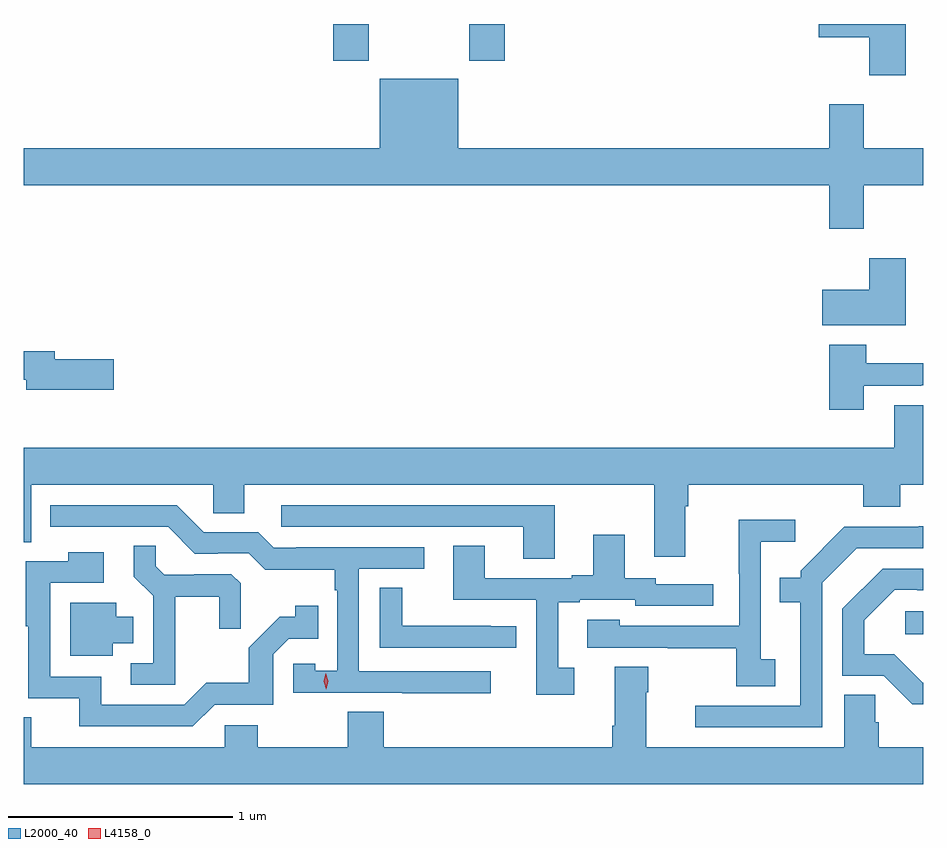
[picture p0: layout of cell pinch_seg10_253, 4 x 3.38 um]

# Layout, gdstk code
import gdstk
lib = gdstk.Library(unit=1e-6, precision=1e-09)
def R(c, l, rs):  # rectangles x0, y0, x1, y1
    for r in rs: c.add(gdstk.rectangle(r[:2], r[2:], *l))
def P(c, l, *ps):  # polygons
    for p in ps: c.add(gdstk.Polygon(p, *l))
L2000_40 = (2000, 40)
L4158_0 = (4158, 0)

pinch_seg10_253 = lib.new_cell('pinch_seg10_253')
R(pinch_seg10_253, L2000_40, [(532.224,1318.298,532.304,1318.401), (529.679,1320.849,529.839,1321.013), (530.284,1320.849,530.444,1321.013)])
P(pinch_seg10_253, L2000_40, [(532.228,1321.013),(531.84,1321.013),(531.84,1320.955),(532.064,1320.955),(532.064,1320.786),(532.228,1320.786)],
  [(532.039,1320.296),(532.304,1320.296),(532.304,1320.46),(532.039,1320.46),(532.039,1320.655),(531.887,1320.655),(531.887,1320.46),(530.236,1320.46),(530.236,1320.769),(529.886,1320.769),(529.886,1320.46),(528.304,1320.46),(528.304,1320.296),(531.887,1320.296),(531.887,1320.102),(532.039,1320.102)],
  [(532.228,1319.971),(532.064,1319.971),(532.064,1319.83),(531.855,1319.83),(531.855,1319.672),(532.228,1319.672)],
  [(532.039,1319.403),(532.295,1319.403),(532.295,1319.406),(532.304,1319.406),(532.304,1319.503),(532.052,1319.503),(532.052,1319.587),(531.887,1319.587),(531.887,1319.298),(532.039,1319.298)],
  [(528.703,1319.522),(528.442,1319.522),(528.442,1319.558),(528.304,1319.558),(528.304,1319.43),(528.314,1319.43),(528.314,1319.387),(528.703,1319.387)],
  [(531.247,1318.868),(531.26,1318.868),(531.26,1318.964),(532.037,1318.964),(532.037,1318.865),(532.202,1318.865),(532.202,1318.964),(532.304,1318.964),(532.304,1319.318),(532.175,1319.318),(532.175,1319.128),(528.304,1319.128),(528.304,1318.708),(528.337,1318.708),(528.337,1318.964),(529.146,1318.964),(529.146,1318.837),(529.285,1318.837),(529.285,1318.964),(531.107,1318.964),(531.107,1318.644),(531.247,1318.644)],
  [(530.665,1318.872),(529.449,1318.872),(529.449,1318.776),(530.525,1318.776),(530.525,1318.633),(530.665,1318.633)],
  [(530.38,1318.134),(529.794,1318.134),(529.794,1318.59),(530.086,1318.59),(530.086,1318.686),(529.516,1318.686),(529.516,1318.683),(529.416,1318.683),(529.347,1318.752),(529.104,1318.752),(528.984,1318.872),(528.422,1318.872),(528.422,1318.776),(528.945,1318.776),(529.065,1318.656),(529.166,1318.656),(529.166,1318.659),(529.305,1318.659),(529.378,1318.586),(529.686,1318.586),(529.686,1318.493),(529.698,1318.493),(529.698,1318.135),(529.599,1318.135),(529.599,1318.167),(529.503,1318.167),(529.503,1318.038),(529.987,1318.038),(529.987,1318.036),(530.38,1318.036)],
  [(531.646,1318.188),(531.582,1318.188),(531.582,1318.709),(531.736,1318.709),(531.736,1318.807),(531.484,1318.807),(531.484,1318.568),(531.486,1318.568),(531.486,1318.335),(530.955,1318.335),(530.955,1318.363),(530.811,1318.363),(530.811,1318.239),(531.169,1318.239),(531.169,1318.237),(531.474,1318.237),(531.474,1318.066),(531.646,1318.066)],
  [(531.855,1318.527),(532.008,1318.68),(532.304,1318.68),(532.304,1318.778),(532.285,1318.778),(532.285,1318.776),(531.954,1318.776),(531.759,1318.581),(531.759,1318.549),(531.667,1318.549),(531.667,1318.44),(531.758,1318.44),(531.758,1317.981),(531.291,1317.981),(531.291,1317.885),(531.855,1317.885)],
  [(530.752,1318.149),(530.68,1318.149),(530.68,1318.44),(530.776,1318.44),(530.776,1318.452),(531.024,1318.452),(531.024,1318.425),(531.37,1318.425),(531.37,1318.521),(531.114,1318.521),(531.114,1318.548),(530.977,1318.548),(530.977,1318.741),(530.837,1318.741),(530.837,1318.561),(530.741,1318.561),(530.741,1318.548),(530.353,1318.548),(530.353,1318.691),(530.213,1318.691),(530.213,1318.452),(530.583,1318.452),(530.583,1318.029),(530.752,1318.029)],
  [(528.977,1318.466),(529.174,1318.466),(529.174,1318.323),(529.268,1318.323),(529.268,1318.525),(529.227,1318.566),(529.062,1318.566),(529.062,1318.563),(528.928,1318.563),(528.891,1318.6),(528.891,1318.691),(528.793,1318.691),(528.793,1318.555),(528.879,1318.469),(528.879,1318.17),(528.78,1318.17),(528.78,1318.074),(528.977,1318.074)],
  [(529.152,1317.984),(529.413,1317.984),(529.413,1318.209),(529.482,1318.278),(529.613,1318.278),(529.613,1318.426),(529.512,1318.426),(529.512,1318.376),(529.442,1318.376),(529.305,1318.238),(529.305,1318.083),(529.116,1318.083),(529.017,1317.984),(528.649,1317.984),(528.649,1318.11),(528.42,1318.11),(528.42,1318.527),(528.658,1318.527),(528.658,1318.663),(528.502,1318.663),(528.502,1318.623),(528.312,1318.623),(528.312,1318.333),(528.324,1318.333),(528.324,1318.014),(528.551,1318.014),(528.551,1317.888),(529.056,1317.888)],
  [(532.304,1318.083),(532.302,1318.083),(532.175,1318.21),(532.042,1318.21),(532.042,1318.36),(532.179,1318.497),(532.279,1318.497),(532.279,1318.494),(532.304,1318.494),(532.304,1318.59),(532.124,1318.59),(531.945,1318.411),(531.945,1318.113),(532.128,1318.113),(532.256,1317.986),(532.304,1317.986)],
  [(530.494,1318.334),(530.381,1318.334),(530.381,1318.335),(529.986,1318.335),(529.986,1318.505),(529.887,1318.505),(529.887,1318.239),(530.494,1318.239)],
  [(528.7,1318.259),(528.79,1318.259),(528.79,1318.375),(528.715,1318.375),(528.715,1318.438),(528.509,1318.438),(528.509,1318.202),(528.7,1318.202)],
  [(532.304,1317.796),(532.106,1317.796),(532.106,1317.906),(532.091,1317.906),(532.091,1318.028),(531.953,1318.028),(531.953,1317.796),(531.073,1317.796),(531.073,1318.04),(531.081,1318.04),(531.081,1318.153),(530.933,1318.153),(530.933,1317.892),(530.921,1317.892),(530.921,1317.796),(529.904,1317.796),(529.904,1317.953),(529.744,1317.953),(529.744,1317.796),(529.344,1317.796),(529.344,1317.894),(529.197,1317.894),(529.197,1317.796),(528.337,1317.796),(528.337,1317.929),(528.304,1317.929),(528.304,1317.632),(532.304,1317.632)])
P(pinch_seg10_253, L4158_0, [(529.648,1318.053),(529.648,1318.053),(529.637,1318.089),(529.647,1318.125),(529.647,1318.125),(529.647,1318.125),(529.657,1318.089),(529.648,1318.053)])

lib.write_gds('pinch_seg10_253.gds')
